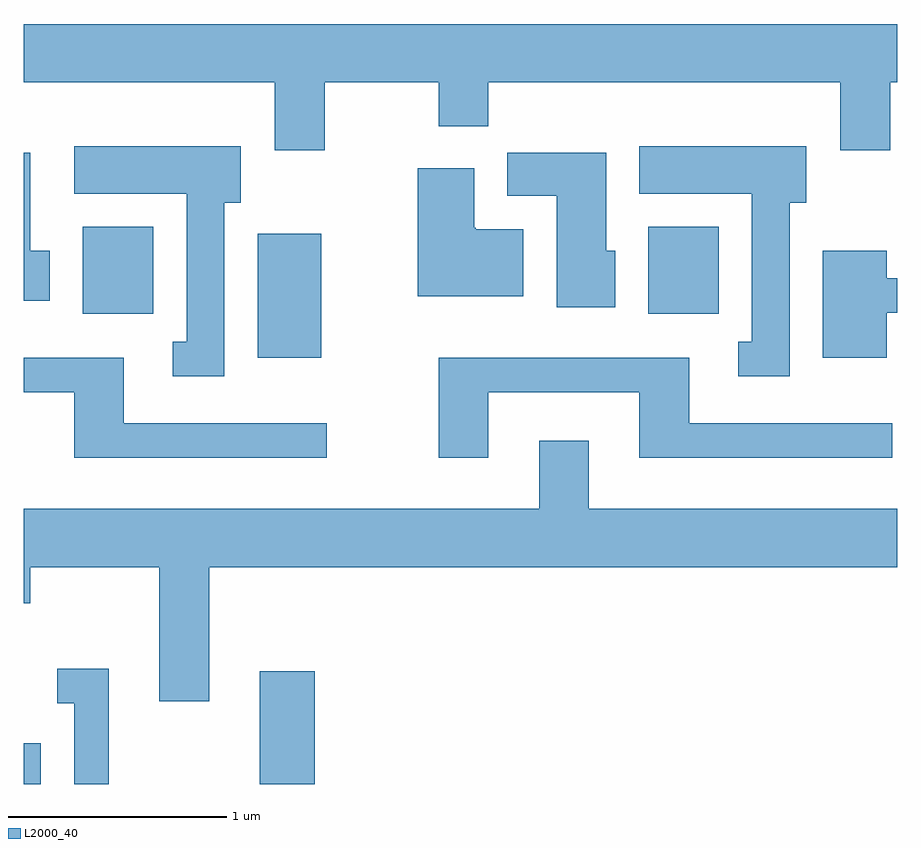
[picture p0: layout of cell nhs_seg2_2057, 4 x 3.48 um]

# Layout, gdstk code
import gdstk
lib = gdstk.Library(unit=1e-6, precision=1e-09)
def R(c, l, rs):  # rectangles x0, y0, x1, y1
    for r in rs: c.add(gdstk.rectangle(r[:2], r[2:], *l))
def P(c, l, *ps):  # polygons
    for p in ps: c.add(gdstk.Polygon(p, *l))
L2000_40 = (2000, 40)

nhs_seg2_2057 = lib.new_cell('nhs_seg2_2057')
R(nhs_seg2_2057, L2000_40, [(245.611,1011.802,245.689,1011.989), (246.691,1011.802,246.944,1012.319), (246.681,1013.756,246.974,1014.324), (245.881,1013.956,246.204,1014.354), (248.471,1013.956,248.794,1014.354)])
P(nhs_seg2_2057, L2000_40, [(246.989,1015.016),(247.511,1015.016),(247.511,1014.816),(247.739,1014.816),(247.739,1015.016),(249.351,1015.016),(249.351,1014.706),(249.579,1014.706),(249.579,1015.016),(249.611,1015.016),(249.611,1015.284),(245.611,1015.284),(245.611,1015.016),(246.761,1015.016),(246.761,1014.706),(246.989,1014.706)],
  [(246.529,1014.466),(246.604,1014.466),(246.604,1014.724),(245.841,1014.724),(245.841,1014.506),(246.356,1014.506),(246.356,1013.829),(246.293,1013.829),(246.293,1013.671),(246.529,1013.671)],
  [(249.119,1014.466),(249.194,1014.466),(249.194,1014.724),(248.431,1014.724),(248.431,1014.506),(248.946,1014.506),(248.946,1013.829),(248.883,1013.829),(248.883,1013.671),(249.119,1013.671)],
  [(245.729,1014.244),(245.639,1014.244),(245.639,1014.694),(245.611,1014.694),(245.611,1014.016),(245.729,1014.016)],
  [(248.319,1014.244),(248.279,1014.244),(248.279,1014.694),(247.826,1014.694),(247.826,1014.496),(248.051,1014.496),(248.051,1013.986),(248.319,1013.986)],
  [(247.899,1014.344),(247.68,1014.344),(247.68,1014.35),(247.674,1014.35),(247.674,1014.624),(247.416,1014.624),(247.416,1014.036),(247.899,1014.036)],
  [(249.564,1013.961),(249.611,1013.961),(249.611,1014.119),(249.564,1014.119),(249.564,1014.244),(249.271,1014.244),(249.271,1013.756),(249.564,1013.756)],
  [(247.739,1013.596),(248.431,1013.596),(248.431,1013.296),(249.588,1013.296),(249.588,1013.454),(248.659,1013.454),(248.659,1013.754),(247.511,1013.754),(247.511,1013.296),(247.739,1013.296)],
  [(246.998,1013.454),(246.069,1013.454),(246.069,1013.754),(245.611,1013.754),(245.611,1013.596),(245.841,1013.596),(245.841,1013.296),(246.998,1013.296)],
  [(246.459,1012.796),(249.611,1012.796),(249.611,1013.064),(248.199,1013.064),(248.199,1013.374),(247.971,1013.374),(247.971,1013.064),(245.611,1013.064),(245.611,1012.631),(245.639,1012.631),(245.639,1012.796),(246.231,1012.796),(246.231,1012.181),(246.459,1012.181)],
  [(245.999,1012.329),(245.763,1012.329),(245.763,1012.171),(245.841,1012.171),(245.841,1011.802),(245.999,1011.802)])

lib.write_gds('nhs_seg2_2057.gds')
